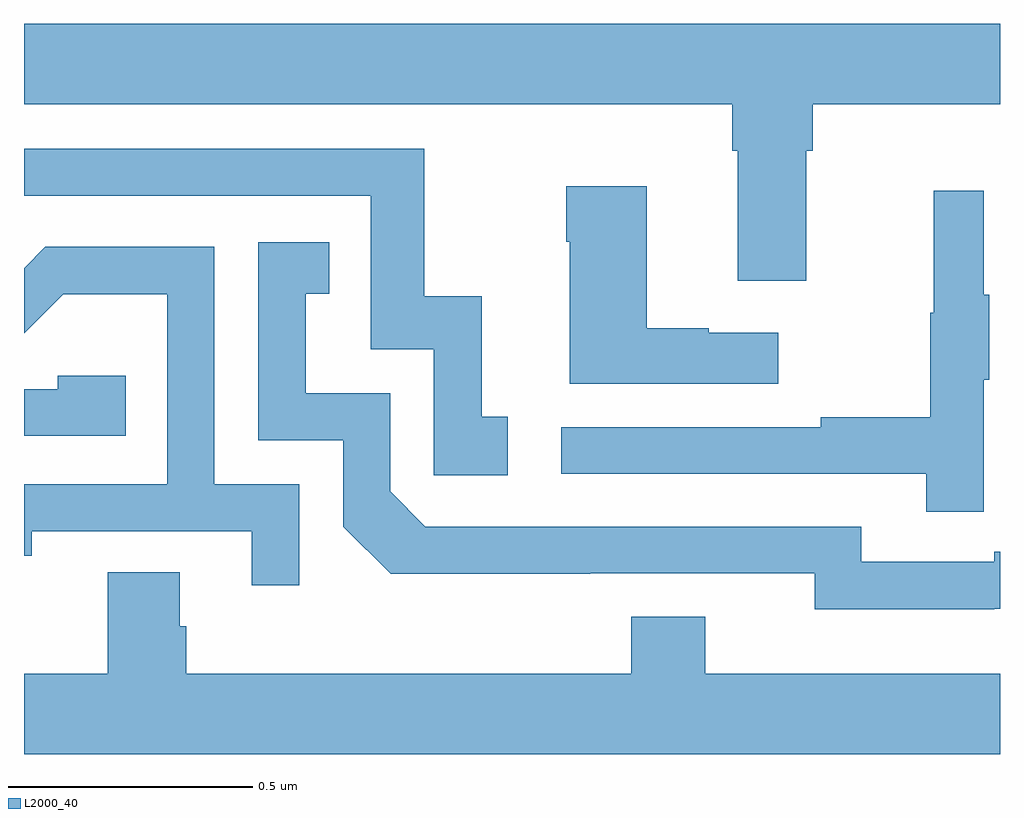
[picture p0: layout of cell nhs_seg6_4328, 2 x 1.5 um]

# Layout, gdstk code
import gdstk
lib = gdstk.Library(unit=1e-6, precision=1e-09)
def P(c, l, *ps):  # polygons
    for p in ps: c.add(gdstk.Polygon(p, *l))
L2000_40 = (2000, 40)

nhs_seg6_4328 = lib.new_cell('nhs_seg6_4328')
P(nhs_seg6_4328, L2000_40, [(169.603,973.88),(169.616,973.88),(169.616,973.976),(170,973.976),(170,974.14),(168,974.14),(168,973.976),(169.451,973.976),(169.451,973.88),(169.463,973.88),(169.463,973.614),(169.603,973.614)],
  [(168.991,973.335),(168.938,973.335),(168.938,973.582),(168.82,973.582),(168.82,973.884),(168,973.884),(168,973.788),(168.711,973.788),(168.711,973.473),(168.84,973.473),(168.84,973.215),(168.991,973.215)],
  [(169.546,973.507),(169.403,973.507),(169.403,973.517),(169.276,973.517),(169.276,973.807),(169.111,973.807),(169.111,973.694),(169.118,973.694),(169.118,973.403),(169.546,973.403)],
  [(169.967,973.411),(169.978,973.411),(169.978,973.585),(169.967,973.585),(169.967,973.798),(169.864,973.798),(169.864,973.548),(169.857,973.548),(169.857,973.334),(169.633,973.334),(169.633,973.314),(169.101,973.314),(169.101,973.218),(169.849,973.218),(169.849,973.14),(169.967,973.14)],
  [(169.988,972.942),(170,972.942),(170,973.058),(169.988,973.058),(169.988,973.038),(169.716,973.038),(169.716,973.11),(168.822,973.11),(168.75,973.182),(168.75,973.383),(168.577,973.383),(168.577,973.587),(168.626,973.587),(168.626,973.693),(168.48,973.693),(168.48,973.287),(168.654,973.287),(168.654,973.11),(168.752,973.013),(169.16,973.013),(169.16,973.014),(169.62,973.014),(169.62,972.941),(169.988,972.941)],
  [(168.564,973.197),(168.39,973.197),(168.39,973.683),(168.044,973.683),(168,973.639),(168,973.506),(168.08,973.586),(168.294,973.586),(168.294,973.197),(168,973.197),(168,973.05),(168.016,973.05),(168.016,973.101),(168.467,973.101),(168.467,972.99),(168.564,972.99)],
  [(168.209,973.419),(168.069,973.419),(168.069,973.392),(168,973.392),(168,973.296),(168.209,973.296)],
  [(170,972.808),(169.396,972.808),(169.396,972.925),(169.244,972.925),(169.244,972.808),(168.332,972.808),(168.332,972.906),(168.319,972.906),(168.319,973.016),(168.172,973.016),(168.172,972.808),(168,972.808),(168,972.644),(170,972.644)])

lib.write_gds('nhs_seg6_4328.gds')
